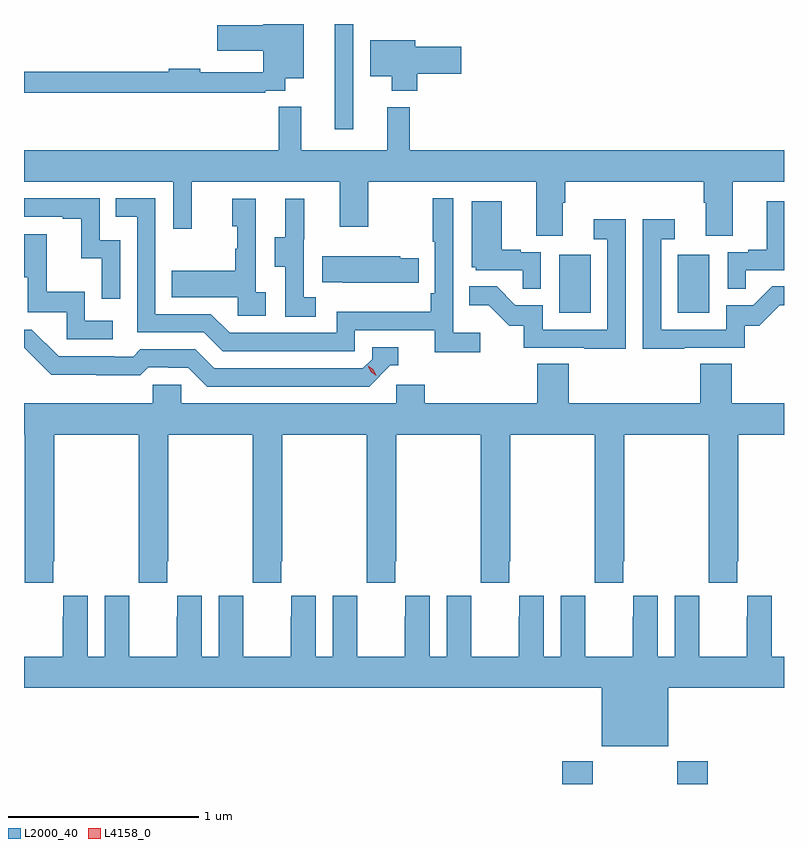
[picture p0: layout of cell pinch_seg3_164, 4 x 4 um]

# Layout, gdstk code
import gdstk
lib = gdstk.Library(unit=1e-6, precision=1e-09)
def R(c, l, rs):  # rectangles x0, y0, x1, y1
    for r in rs: c.add(gdstk.rectangle(r[:2], r[2:], *l))
def P(c, l, *ps):  # polygons
    for p in ps: c.add(gdstk.Polygon(p, *l))
L2000_40 = (2000, 40)
L4158_0 = (4158, 0)

pinch_seg3_164 = lib.new_cell('pinch_seg3_164')
R(pinch_seg3_164, L2000_40, [(1107.989,709.733,1108.149,709.852), (1108.594,709.733,1108.754,709.852), (1107.974,712.212,1108.138,712.519), (1108.598,712.212,1108.762,712.519), (1106.792,713.178,1106.889,713.733)])
P(pinch_seg3_164, L2000_40, [(1106.426,713.382),(1106.53,713.382),(1106.53,713.447),(1106.629,713.447),(1106.629,713.733),(1106.414,713.733),(1106.414,713.726),(1106.172,713.726),(1106.172,713.591),(1106.414,713.591),(1106.414,713.478),(1106.084,713.478),(1106.084,713.498),(1105.918,713.498),(1105.918,713.483),(1105.156,713.483),(1105.156,713.37),(1106.426,713.37)],
  [(1107.227,713.47),(1107.457,713.47),(1107.457,713.612),(1107.214,713.612),(1107.214,713.647),(1106.978,713.647),(1106.978,713.459),(1107.092,713.459),(1107.092,713.381),(1107.227,713.381)],
  [(1107.991,712.792),(1108.004,712.792),(1108.004,712.904),(1108.733,712.904),(1108.733,712.792),(1108.745,712.792),(1108.745,712.618),(1108.885,712.618),(1108.885,712.904),(1109.156,712.904),(1109.156,713.068),(1107.185,713.068),(1107.185,713.296),(1107.068,713.296),(1107.068,713.068),(1106.615,713.068),(1106.615,713.297),(1106.497,713.297),(1106.497,713.068),(1105.156,713.068),(1105.156,712.904),(1105.941,712.904),(1105.941,712.656),(1106.039,712.656),(1106.039,712.904),(1106.819,712.904),(1106.819,712.665),(1106.967,712.665),(1106.967,712.904),(1107.851,712.904),(1107.851,712.618),(1107.991,712.618)],
  [(1107.556,712.108),(1107.414,712.108),(1107.414,712.816),(1107.306,712.816),(1107.306,712.588),(1107.318,712.588),(1107.318,712.315),(1107.298,712.315),(1107.298,712.219),(1106.802,712.219),(1106.802,712.107),(1106.238,712.107),(1106.139,712.206),(1105.848,712.206),(1105.848,712.815),(1105.639,712.815),(1105.639,712.719),(1105.752,712.719),(1105.752,712.11),(1106.102,712.11),(1106.201,712.011),(1106.898,712.011),(1106.898,712.122),(1107.317,712.122),(1107.317,712.006),(1107.556,712.006)],
  [(1105.662,712.596),(1105.554,712.596),(1105.554,712.815),(1105.156,712.815),(1105.156,712.719),(1105.361,712.719),(1105.361,712.707),(1105.457,712.707),(1105.457,712.499),(1105.566,712.499),(1105.566,712.287),(1105.662,712.287)],
  [(1106.428,712.322),(1106.376,712.322),(1106.376,712.813),(1106.252,712.813),(1106.252,712.668),(1106.278,712.668),(1106.278,712.55),(1106.268,712.55),(1106.268,712.435),(1105.933,712.435),(1105.933,712.295),(1106.28,712.295),(1106.28,712.197),(1106.428,712.197)],
  [(1106.692,712.295),(1106.628,712.295),(1106.628,712.599),(1106.63,712.599),(1106.63,712.813),(1106.531,712.813),(1106.531,712.611),(1106.477,712.611),(1106.477,712.456),(1106.532,712.456),(1106.532,712.192),(1106.692,712.192)],
  [(1107.876,712.533),(1107.77,712.533),(1107.77,712.546),(1107.67,712.546),(1107.67,712.801),(1107.512,712.801),(1107.512,712.452),(1107.534,712.452),(1107.534,712.437),(1107.781,712.437),(1107.781,712.339),(1107.876,712.339)],
  [(1108.955,712.437),(1109.156,712.437),(1109.156,712.801),(1109.066,712.801),(1109.066,712.546),(1108.967,712.546),(1108.967,712.533),(1108.86,712.533),(1108.86,712.339),(1108.955,712.339)],
  [(1108.631,712.029),(1108.95,712.029),(1108.95,712.146),(1109.026,712.146),(1109.133,712.253),(1109.156,712.253),(1109.156,712.352),(1109.093,712.352),(1108.995,712.254),(1108.851,712.254),(1108.851,712.125),(1108.509,712.125),(1108.509,712.599),(1108.582,712.599),(1108.582,712.705),(1108.413,712.705),(1108.413,712.024),(1108.631,712.024)],
  [(1108.323,712.705),(1108.155,712.705),(1108.155,712.599),(1108.227,712.599),(1108.227,712.125),(1107.885,712.125),(1107.885,712.254),(1107.741,712.254),(1107.643,712.352),(1107.499,712.352),(1107.499,712.253),(1107.603,712.253),(1107.71,712.146),(1107.787,712.146),(1107.787,712.029),(1108.105,712.029),(1108.105,712.024),(1108.323,712.024)],
  [(1105.624,712.17),(1105.476,712.17),(1105.476,712.324),(1105.277,712.324),(1105.277,712.627),(1105.156,712.627),(1105.156,712.401),(1105.175,712.401),(1105.175,712.215),(1105.38,712.215),(1105.38,712.074),(1105.624,712.074)],
  [(1107.233,712.5),(1107.135,712.5),(1107.135,712.51),(1106.725,712.51),(1106.725,712.373),(1106.833,712.373),(1106.833,712.37),(1107.233,712.37)],
  [(1107.084,711.936),(1107.127,711.936),(1107.127,712.032),(1106.988,712.032),(1106.988,711.969),(1106.94,711.921),(1106.157,711.921),(1106.058,712.02),(1105.769,712.02),(1105.73,711.981),(1105.631,711.981),(1105.631,711.984),(1105.338,711.984),(1105.197,712.125),(1105.156,712.125),(1105.156,712.029),(1105.158,712.029),(1105.3,711.887),(1105.536,711.887),(1105.536,711.885),(1105.769,711.885),(1105.811,711.927),(1105.914,711.927),(1105.914,711.924),(1106.021,711.924),(1106.12,711.825),(1106.973,711.825)],
  [(1105.311,710.905),(1105.314,710.905),(1105.314,711.572),(1105.759,711.572),(1105.759,710.905),(1105.761,710.905),(1105.761,710.793),(1105.911,710.793),(1105.911,710.905),(1105.914,710.905),(1105.914,711.572),(1106.359,711.572),(1106.359,710.905),(1106.361,710.905),(1106.361,710.793),(1106.511,710.793),(1106.511,710.905),(1106.514,710.905),(1106.514,711.572),(1106.959,711.572),(1106.959,710.905),(1106.961,710.905),(1106.961,710.793),(1107.111,710.793),(1107.111,710.905),(1107.114,710.905),(1107.114,711.572),(1107.559,711.572),(1107.559,710.905),(1107.561,710.905),(1107.561,710.793),(1107.711,710.793),(1107.711,710.905),(1107.714,710.905),(1107.714,711.572),(1108.159,711.572),(1108.159,710.905),(1108.161,710.905),(1108.161,710.793),(1108.311,710.793),(1108.311,710.905),(1108.314,710.905),(1108.314,711.572),(1108.759,711.572),(1108.759,710.905),(1108.761,710.905),(1108.761,710.793),(1108.911,710.793),(1108.911,710.905),(1108.914,710.905),(1108.914,711.572),(1109.156,711.572),(1109.156,711.736),(1108.88,711.736),(1108.88,711.944),(1108.715,711.944),(1108.715,711.736),(1108.022,711.736),(1108.022,711.944),(1107.857,711.944),(1107.857,711.736),(1107.266,711.736),(1107.266,711.834),(1107.114,711.834),(1107.114,711.736),(1105.983,711.736),(1105.983,711.834),(1105.833,711.834),(1105.833,711.736),(1105.156,711.736),(1105.156,711.572),(1105.159,711.572),(1105.159,710.905),(1105.161,710.905),(1105.161,710.793),(1105.311,710.793)],
  [(1108.546,710.24),(1109.156,710.24),(1109.156,710.404),(1109.092,710.404),(1109.092,710.725),(1108.962,710.725),(1108.962,710.612),(1108.961,710.612),(1108.961,710.404),(1108.711,710.404),(1108.711,710.612),(1108.71,710.612),(1108.71,710.725),(1108.58,710.725),(1108.58,710.404),(1108.492,710.404),(1108.492,710.725),(1108.362,710.725),(1108.362,710.612),(1108.361,710.612),(1108.361,710.404),(1108.111,710.404),(1108.111,710.612),(1108.11,710.612),(1108.11,710.725),(1107.98,710.725),(1107.98,710.404),(1107.892,710.404),(1107.892,710.725),(1107.762,710.725),(1107.762,710.612),(1107.761,710.612),(1107.761,710.404),(1107.511,710.404),(1107.511,710.612),(1107.51,710.612),(1107.51,710.725),(1107.38,710.725),(1107.38,710.404),(1107.292,710.404),(1107.292,710.725),(1107.162,710.725),(1107.162,710.612),(1107.161,710.612),(1107.161,710.404),(1106.911,710.404),(1106.911,710.612),(1106.91,710.612),(1106.91,710.725),(1106.78,710.725),(1106.78,710.404),(1106.692,710.404),(1106.692,710.725),(1106.562,710.725),(1106.562,710.612),(1106.561,710.612),(1106.561,710.404),(1106.311,710.404),(1106.311,710.612),(1106.31,710.612),(1106.31,710.725),(1106.18,710.725),(1106.18,710.404),(1106.092,710.404),(1106.092,710.725),(1105.962,710.725),(1105.962,710.612),(1105.961,710.612),(1105.961,710.404),(1105.711,710.404),(1105.711,710.612),(1105.71,710.612),(1105.71,710.725),(1105.58,710.725),(1105.58,710.404),(1105.492,710.404),(1105.492,710.725),(1105.362,710.725),(1105.362,710.612),(1105.361,710.612),(1105.361,710.404),(1105.156,710.404),(1105.156,710.24),(1108.196,710.24),(1108.196,709.931),(1108.546,709.931)])
P(pinch_seg3_164, L4158_0, [(1107.01,711.882),(1106.98,711.902),(1106.964,711.935),(1106.964,711.935),(1106.965,711.935),(1106.995,711.915),(1107.01,711.882),(1107.01,711.882)])

lib.write_gds('pinch_seg3_164.gds')
